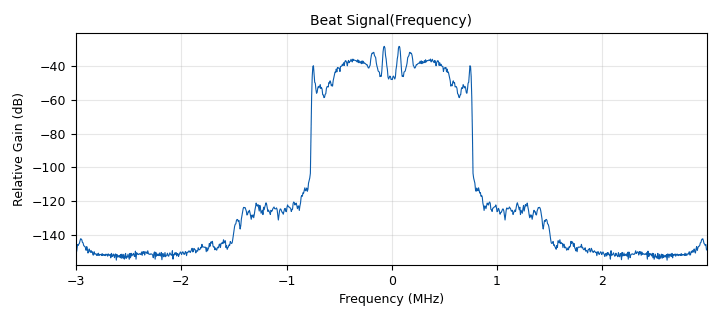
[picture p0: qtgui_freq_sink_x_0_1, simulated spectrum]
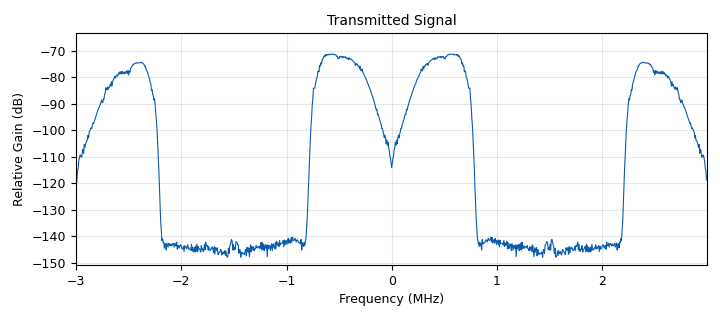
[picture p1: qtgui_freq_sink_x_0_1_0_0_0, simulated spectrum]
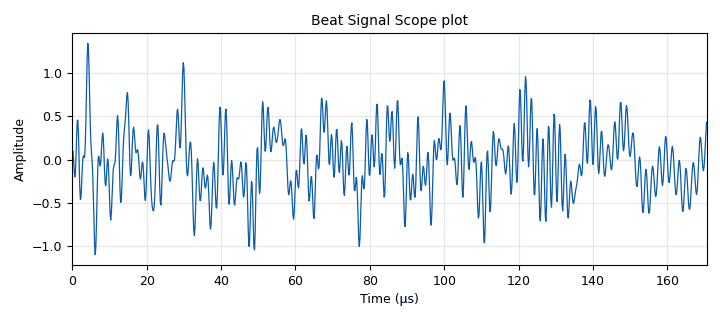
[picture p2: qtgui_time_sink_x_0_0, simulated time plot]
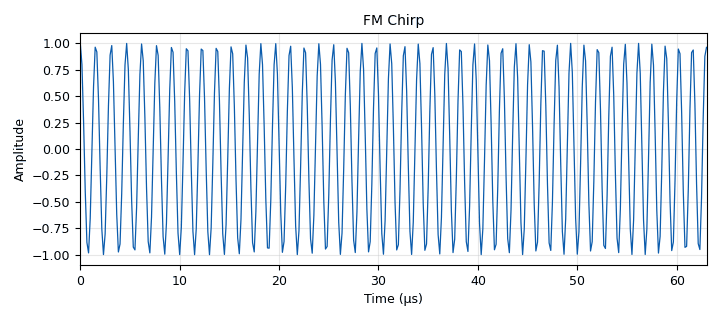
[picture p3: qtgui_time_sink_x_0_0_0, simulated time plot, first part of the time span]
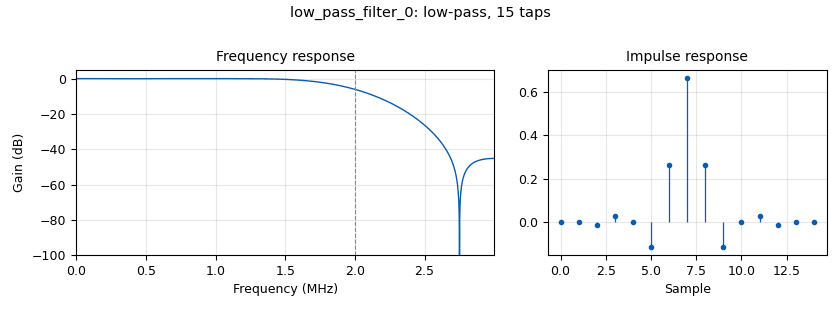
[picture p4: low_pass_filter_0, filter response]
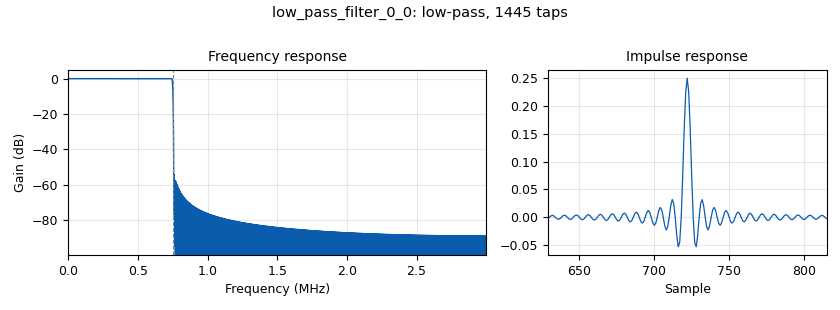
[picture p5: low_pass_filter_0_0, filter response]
options:
  parameters:
    author: vamseekrishnatunuguntla
    generate_options: qt_gui
    id: TriFMCW
    output_language: python
    realtime_scheduling: '1'
    title: FMCW Real Time Condition
  states: {}

blocks:
- name: samp_rate
  id: variable
  parameters:
    value: '6000000'
  states: {}
- name: analog_const_source_x_0
  id: analog_const_source_x
  parameters:
    const: '1'
    type: float
  states: {}
- name: analog_sig_source_x_0
  id: analog_sig_source_x
  parameters:
    amp: '1'
    freq: '1000'
    offset: '0'
    phase: '0'
    samp_rate: samp_rate
    type: float
    waveform: analog.GR_SIN_WAVE
  states: {}
- name: blocks_add_xx_0
  id: blocks_add_xx
  parameters:
    num_inputs: '3'
    type: float
  states: {}
- name: blocks_delay_0
  id: blocks_delay
  parameters:
    delay: '100'
    type: float
  states: {}
- name: blocks_delay_0_0
  id: blocks_delay
  parameters:
    delay: '1000'
    type: float
  states: {}
- name: blocks_delay_0_1
  id: blocks_delay
  parameters:
    delay: '250'
    type: float
  states: {}
- name: blocks_file_sink_0
  id: blocks_file_sink
  parameters:
    file: test_bin
    type: float
  states: {}
- name: blocks_head_0
  id: blocks_head
  parameters:
    num_items: '512000'
    type: float
  states: {}
- name: blocks_multiply_xx_0
  id: blocks_multiply_xx
  parameters:
    type: float
  states: {}
- name: blocks_multiply_xx_0_0
  id: blocks_multiply_xx
  parameters:
    type: float
  states: {}
- name: blocks_multiply_xx_0_0_0
  id: blocks_multiply_xx
  parameters:
    type: float
  states: {}
- name: blocks_skiphead_0
  id: blocks_skiphead
  parameters:
    num_items: '0'
    type: float
  states: {}
- name: blocks_vco_f_0
  id: blocks_vco_f
  parameters:
    amplitude: '1'
    samp_rate: samp_rate
    sensitivity: '4710000'
  states: {}
- name: blocks_vco_f_0_0
  id: blocks_vco_f
  parameters:
    amplitude: '1'
    samp_rate: samp_rate
    sensitivity: '9420000'
  states: {}
- name: low_pass_filter_0
  id: low_pass_filter
  parameters:
    cutoff_freq: '2000000'
    gain: '1'
    interp: '1'
    samp_rate: samp_rate
    type: interp_fir_filter_fff
    width: '1000000'
    win: window.WIN_HAMMING
  states: {}
- name: low_pass_filter_0_0
  id: low_pass_filter
  parameters:
    cutoff_freq: '750000'
    gain: '1'
    interp: '1'
    samp_rate: samp_rate
    type: interp_fir_filter_fff
    width: '10000'
    win: window.WIN_HAMMING
  states: {}
- name: qtgui_freq_sink_x_0_1
  id: qtgui_freq_sink_x
  parameters:
    autoscale: 'True'
    average: '0.05'
    bw: samp_rate
    fc: '0'
    fftsize: '1024'
    grid: 'True'
    gui_hint: 0,0,2,1
    name: '"Beat Signal(Frequency)"'
    norm_window: 'True'
    type: float
    units: ''
    update_time: '0.01'
    ymax: '1'
  states: {}
- name: qtgui_freq_sink_x_0_1_0_0_0
  id: qtgui_freq_sink_x
  parameters:
    autoscale: 'True'
    average: '0.05'
    bw: samp_rate
    fc: '0'
    fftsize: '1024'
    grid: 'True'
    name: '"Transmitted Signal"'
    norm_window: 'True'
    type: float
    units: ''
    update_time: '0.01'
  states: {}
- name: qtgui_time_sink_x_0_0
  id: qtgui_time_sink_x
  parameters:
    autoscale: 'True'
    grid: 'True'
    name: '"Beat Signal Scope plot"'
    size: '1024'
    srate: samp_rate
    type: float
    update_time: '0.01'
    ymax: '1.5'
    ymin: '-1.5'
  states: {}
- name: qtgui_time_sink_x_0_0_0
  id: qtgui_time_sink_x
  parameters:
    autoscale: 'True'
    name: '"FM Chirp"'
    size: '1024'
    srate: samp_rate
    type: float
    update_time: '0.01'
    ymax: '1.5'
    ymin: '-1.5'
  states: {}

connections:
- [analog_const_source_x_0, '0', blocks_vco_f_0_0, '0']
- [analog_sig_source_x_0, '0', blocks_vco_f_0, '0']
- [blocks_add_xx_0, '0', blocks_multiply_xx_0_0_0, '1']
- [blocks_delay_0, '0', blocks_add_xx_0, '2']
- [blocks_delay_0_0, '0', blocks_add_xx_0, '0']
- [blocks_delay_0_1, '0', blocks_add_xx_0, '1']
- [blocks_head_0, '0', blocks_file_sink_0, '0']
- [blocks_multiply_xx_0, '0', blocks_multiply_xx_0_0, '0']
- [blocks_multiply_xx_0_0, '0', low_pass_filter_0, '0']
- [blocks_multiply_xx_0_0, '0', qtgui_freq_sink_x_0_1_0_0_0, '0']
- [blocks_multiply_xx_0_0_0, '0', low_pass_filter_0_0, '0']
- [blocks_skiphead_0, '0', blocks_head_0, '0']
- [blocks_vco_f_0, '0', blocks_multiply_xx_0, '0']
- [blocks_vco_f_0, '0', blocks_multiply_xx_0_0_0, '0']
- [blocks_vco_f_0, '0', qtgui_time_sink_x_0_0_0, '0']
- [blocks_vco_f_0_0, '0', blocks_multiply_xx_0, '1']
- [blocks_vco_f_0_0, '0', blocks_multiply_xx_0_0, '1']
- [low_pass_filter_0, '0', blocks_delay_0, '0']
- [low_pass_filter_0, '0', blocks_delay_0_0, '0']
- [low_pass_filter_0, '0', blocks_delay_0_1, '0']
- [low_pass_filter_0_0, '0', blocks_skiphead_0, '0']
- [low_pass_filter_0_0, '0', qtgui_freq_sink_x_0_1, '0']
- [low_pass_filter_0_0, '0', qtgui_time_sink_x_0_0, '0']

metadata:
  file_format: 1
  grc_version: 3.10.5.1
